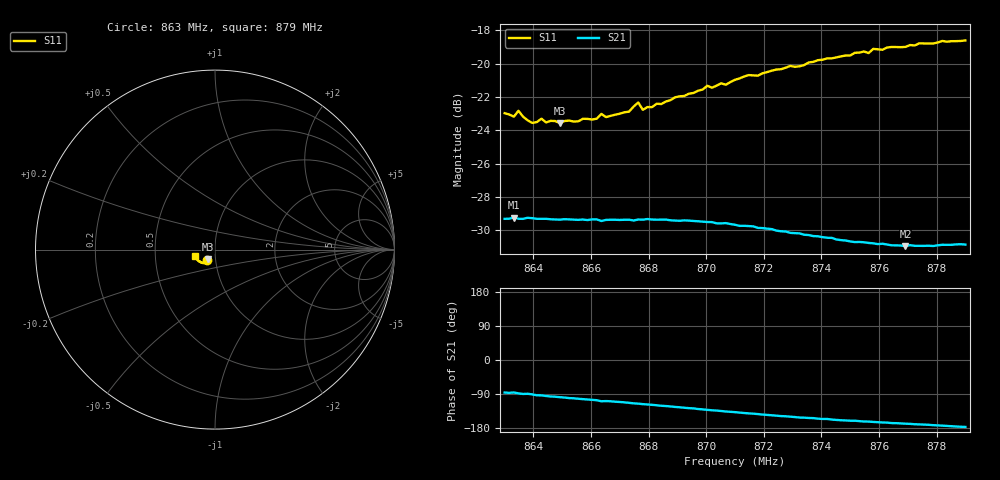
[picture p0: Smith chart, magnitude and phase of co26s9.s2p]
# HZ S RI R 50
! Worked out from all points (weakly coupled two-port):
!   101 points, 863 MHz to 879 MHz, reference 50 ohm
!   highest |S21| = -29.24 dB at 863.32 MHz (marker M1); lowest = -31.0 dB at 876.92 MHz (marker M2)
!   lowest |S11| = -23.6 dB at 864.92 MHz (marker M3), VSWR 1.14, Z = 46.1 - j5.08 ohm
!   |S11| at or under -10 dB: start of sweep to end of sweep
!   S12 and S22 are empty: the file has one direction only
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8.63e8  -0.0443 -0.0555  0.00248 -0.0341  0 0  0 0
8.6332e8  -0.0417 -0.0554  0.00259 -0.0344  0 0  0 0
8.6348e8  -0.0455 -0.0561  0.00119 -0.0342  0 0  0 0
8.6396e8  -0.0376 -0.0547  -0.000466 -0.0344  0 0  0 0
8.6428e8  -0.0384 -0.0566  -0.00201 -0.0342  0 0  0 0
8.6444e8  -0.0387 -0.0543  -0.00296 -0.0341  0 0  0 0
8.6492e8  -0.0373 -0.0548  -0.0048 -0.0337  0 0  0 0
8.6572e8  -0.0353 -0.0585  -0.00781 -0.0331  0 0  0 0
8.6604e8  -0.0349 -0.0584  -0.00886 -0.0329  0 0  0 0
8.6636e8  -0.0381 -0.0595  -0.0109 -0.0319  0 0  0 0
8.6652e8  -0.0346 -0.0598  -0.0107 -0.0322  0 0  0 0
8.6732e8  -0.0359 -0.0621  -0.0133 -0.0313  0 0  0 0
8.6764e8  -0.0394 -0.0655  -0.0145 -0.0308  0 0  0 0
8.678e8  -0.0345 -0.064  -0.0152 -0.0304  0 0  0 0
8.6844e8  -0.0361 -0.0665  -0.0174 -0.0292  0 0  0 0
8.7004e8  -0.0447 -0.0733  -0.0222 -0.025  0 0  0 0
8.702e8  -0.0437 -0.0725  -0.0227 -0.0246  0 0  0 0
8.71e8  -0.0495 -0.0746  -0.0243 -0.0221  0 0  0 0
8.7372e8  -0.0681 -0.075  -0.0271 -0.0136  0 0  0 0
8.7644e8  -0.0937 -0.0618  -0.0277 -0.00668  0 0  0 0
8.7692e8  -0.0964 -0.0576  -0.0277 -0.00585  0 0  0 0
8.79e8  -0.1112 -0.0378  -0.0286 -0.00166  0 0  0 0
